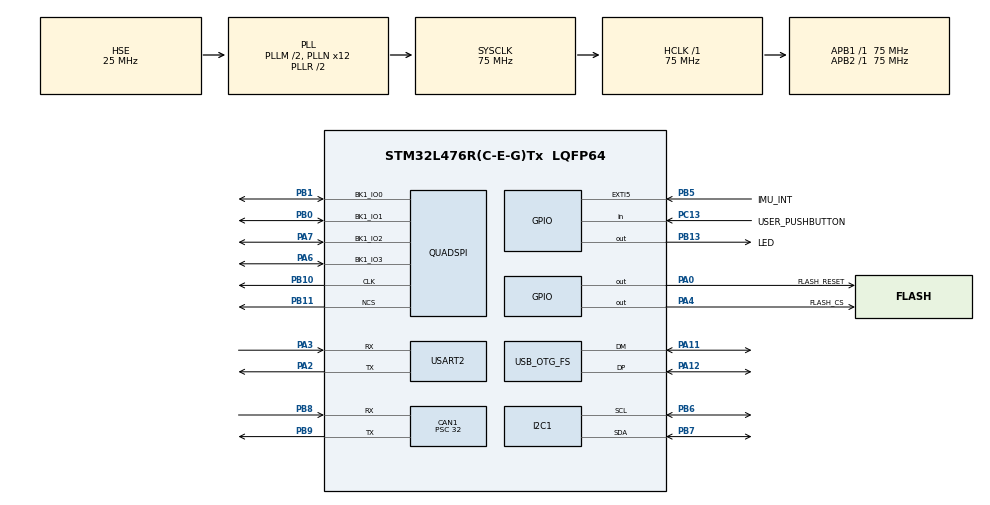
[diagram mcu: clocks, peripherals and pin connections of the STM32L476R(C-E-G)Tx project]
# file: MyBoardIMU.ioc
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CAN1.BS1=CAN_BS1_1TQ
CAN1.BS2=CAN_BS2_1TQ
CAN1.CalculateBaudRate=781250
CAN1.CalculateTimeBit=1280
CAN1.CalculateTimeQuantum=426.6666666666667
CAN1.Prescaler=32
I2C1.Timing=0x109093DC
Mcu.Family=STM32L4
Mcu.Name=STM32L476R(C-E-G)Tx
Mcu.Package=LQFP64
NVIC.EXTI9_5_IRQn=true\:0\:0\:false\:false\:true\:true\:true\:true
NVIC.OTG_FS_IRQn=true\:0\:0\:false\:false\:true\:false\:true\:true
NVIC.PriorityGroup=NVIC_PRIORITYGROUP_4
PA0.GPIO_Label=FLASH_RESET
PA0.Signal=GPIO_Output
PA11.Mode=Device_Only
PA11.Signal=USB_OTG_FS_DM
PA12.Mode=Device_Only
PA12.Signal=USB_OTG_FS_DP
PA13\ (JTMS-SWDIO).Mode=Serial_Wire
PA13\ (JTMS-SWDIO).Signal=SYS_JTMS-SWDIO
PA14\ (JTCK-SWCLK).Mode=Serial_Wire
PA14\ (JTCK-SWCLK).Signal=SYS_JTCK-SWCLK
PA2.Mode=Asynchronous
PA2.Signal=USART2_TX
PA3.Mode=Asynchronous
PA3.Signal=USART2_RX
PA4.GPIO_Label=FLASH_CS
PA4.Signal=GPIO_Output
PA6.Mode=Single Bank
PA6.Signal=QUADSPI_BK1_IO3
PA7.Mode=Single Bank
PA7.Signal=QUADSPI_BK1_IO2
PB0.Mode=Single Bank
PB0.Signal=QUADSPI_BK1_IO1
PB1.Mode=Single Bank
PB1.Signal=QUADSPI_BK1_IO0
PB10.Mode=Single Bank
PB10.Signal=QUADSPI_CLK
PB11.Mode=Single Bank
PB11.Signal=QUADSPI_NCS
PB13.GPIO_Label=LED
PB13.Signal=GPIO_Output
PB5.GPIO_Label=IMU_INT
PB5.Signal=GPXTI5
PB6.Mode=I2C
PB6.Signal=I2C1_SCL
PB7.Mode=I2C
PB7.Signal=I2C1_SDA
PB8.Mode=CAN_Activate
PB8.Signal=CAN1_RX
PB9.Mode=CAN_Activate
PB9.Signal=CAN1_TX
PC13.GPIO_Label=USER_PUSHBUTTON
PC13.Signal=GPIO_Input
PC14-OSC32_IN\ (PC14).Mode=LSE-External-Oscillator
PC14-OSC32_IN\ (PC14).Signal=RCC_OSC32_IN
PC15-OSC32_OUT\ (PC15).Mode=LSE-External-Oscillator
PC15-OSC32_OUT\ (PC15).Signal=RCC_OSC32_OUT
PH0-OSC_IN\ (PH0).Mode=HSE-External-Oscillator
PH0-OSC_IN\ (PH0).Signal=RCC_OSC_IN
PH1-OSC_OUT\ (PH1).Mode=HSE-External-Oscillator
PH1-OSC_OUT\ (PH1).Signal=RCC_OSC_OUT
ProjectManager.HeapSize=0x2000
ProjectManager.StackSize=0x400
ProjectManager.TargetToolchain=STM32CubeIDE
RCC.ADCFreq_Value=143750000
RCC.AHBFreq_Value=75000000
RCC.APB1Freq_Value=75000000
RCC.APB1TimFreq_Value=75000000
RCC.APB2Freq_Value=75000000
RCC.APB2TimFreq_Value=75000000
RCC.CortexFreq_Value=75000000
RCC.HCLKFreq_Value=75000000
RCC.HSE_VALUE=25000000
RCC.HSI_VALUE=16000000
RCC.MSI_VALUE=4000000
RCC.PLLM=2
RCC.PLLN=12
RCC.PLLSAI1N=23
RCC.PLLSAI1Q=RCC_PLLQ_DIV6
RCC.PLLSourceVirtual=RCC_PLLSOURCE_HSE
RCC.SYSCLKFreq_VALUE=75000000
RCC.SYSCLKSource=RCC_SYSCLKSOURCE_PLLCLK
RCC.USBFreq_Value=47916666.666666664
RCC.VCOOutputFreq_Value=150000000
USART2.VirtualMode-Asynchronous=VM_ASYNC
USB_DEVICE.CLASS_NAME_FS=CDC
USB_DEVICE.MANUFACTURER_STRING=VisteK Industries
USB_DEVICE.PRODUCT_STRING_CDC_FS=STM32 Universal Board
USB_DEVICE.VirtualMode=Cdc
USB_DEVICE.VirtualModeFS=Cdc_FS
USB_OTG_FS.VirtualMode=Device_Only
VP_USB_DEVICE_VS_USB_DEVICE_CDC_FS.Mode=CDC_FS
board=custom

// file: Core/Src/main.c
/* USER CODE BEGIN Header */
/**
  ******************************************************************************
  * @file           : main.c
  * @brief          : Main program body
  ******************************************************************************
  * @attention
  *
  * Copyright (c) 2023 STMicroelectronics.
  * All rights reserved.
  *
  * This software is licensed under terms that can be found in the LICENSE file
  * in the root directory of this software component.
  * If no LICENSE file comes with this software, it is provided AS-IS.
  *
  ******************************************************************************
  */
/* USER CODE END Header */
#include "main.h"
#include "can.h"
#include "i2c.h"
#include "quadspi.h"
#include "usart.h"
#include "usb_device.h"
#include "gpio.h"

/* USER CODE BEGIN Includes */

#include "usbd_cdc_if.h"
#include "string.h"
#include "mpu6050.h"

/* USER CODE END Includes */

void SystemClock_Config(void);

/* USER CODE BEGIN 0 */

int _write(int file, char *ptr, int len) {
    static uint8_t rc = USBD_OK;

    do {
        rc = CDC_Transmit_FS(ptr, len);
    } while (USBD_BUSY == rc);

    if (USBD_FAIL == rc) {
        /// NOTE: Should never reach here.
        /// TODO: Handle this error.
        return 0;
    }
    return len;
}

/* USER CODE END 0 */

int main(void)
{

  /* MCU Configuration--------------------------------------------------------*/

  /* Reset of all peripherals, Initializes the Flash interface and the Systick. */
  HAL_Init();

  /* Configure the system clock */
  SystemClock_Config();

  /* Initialize all configured peripherals */
  MX_GPIO_Init();
  MX_I2C1_Init();
  MX_CAN1_Init();
  MX_QUADSPI_Init();
  MX_USART2_UART_Init();
  MX_USB_DEVICE_Init();

  /* Infinite loop */
  /* USER CODE BEGIN WHILE */

  MPU6050_DATA data;

  MPU6050_Init(&hi2c1);

  while (1)
  {
	  MPU6050_ReadData(&hi2c1, &data);

	  printf("AccelX: %.02f\tAccelY: %.02f\tAccelZ: %.02f\r\n", data.accel[0], data.accel[1], data.accel[2]);
	  HAL_Delay(50);
    /* USER CODE END WHILE */

  }
}

void SystemClock_Config(void)
{
  RCC_OscInitTypeDef RCC_OscInitStruct = {0};
  RCC_ClkInitTypeDef RCC_ClkInitStruct = {0};

  /** Configure the main internal regulator output voltage
  */
  if (HAL_PWREx_ControlVoltageScaling(PWR_REGULATOR_VOLTAGE_SCALE1) != HAL_OK)
  {
    Error_Handler();
  }

  /** Initializes the RCC Oscillators according to the specified parameters
  * in the RCC_OscInitTypeDef structure.
  */
  RCC_OscInitStruct.OscillatorType = RCC_OSCILLATORTYPE_HSE;
  RCC_OscInitStruct.HSEState = RCC_HSE_ON;
  RCC_OscInitStruct.PLL.PLLState = RCC_PLL_ON;
  RCC_OscInitStruct.PLL.PLLSource = RCC_PLLSOURCE_HSE;
  RCC_OscInitStruct.PLL.PLLM = 2;
  RCC_OscInitStruct.PLL.PLLN = 12;
  RCC_OscInitStruct.PLL.PLLP = RCC_PLLP_DIV7;
  RCC_OscInitStruct.PLL.PLLQ = RCC_PLLQ_DIV2;
  RCC_OscInitStruct.PLL.PLLR = RCC_PLLR_DIV2;
  if (HAL_RCC_OscConfig(&RCC_OscInitStruct) != HAL_OK)
  {
    Error_Handler();
  }

  /** Initializes the CPU, AHB and APB buses clocks
  */
  RCC_ClkInitStruct.ClockType = RCC_CLOCKTYPE_HCLK|RCC_CLOCKTYPE_SYSCLK
                              |RCC_CLOCKTYPE_PCLK1|RCC_CLOCKTYPE_PCLK2;
  RCC_ClkInitStruct.SYSCLKSource = RCC_SYSCLKSOURCE_PLLCLK;
  RCC_ClkInitStruct.AHBCLKDivider = RCC_SYSCLK_DIV1;
  RCC_ClkInitStruct.APB1CLKDivider = RCC_HCLK_DIV1;
  RCC_ClkInitStruct.APB2CLKDivider = RCC_HCLK_DIV1;

  if (HAL_RCC_ClockConfig(&RCC_ClkInitStruct, FLASH_LATENCY_4) != HAL_OK)
  {
    Error_Handler();
  }
}

void Error_Handler(void)
{
  __disable_irq();
  while (1)
  {
  }
}
